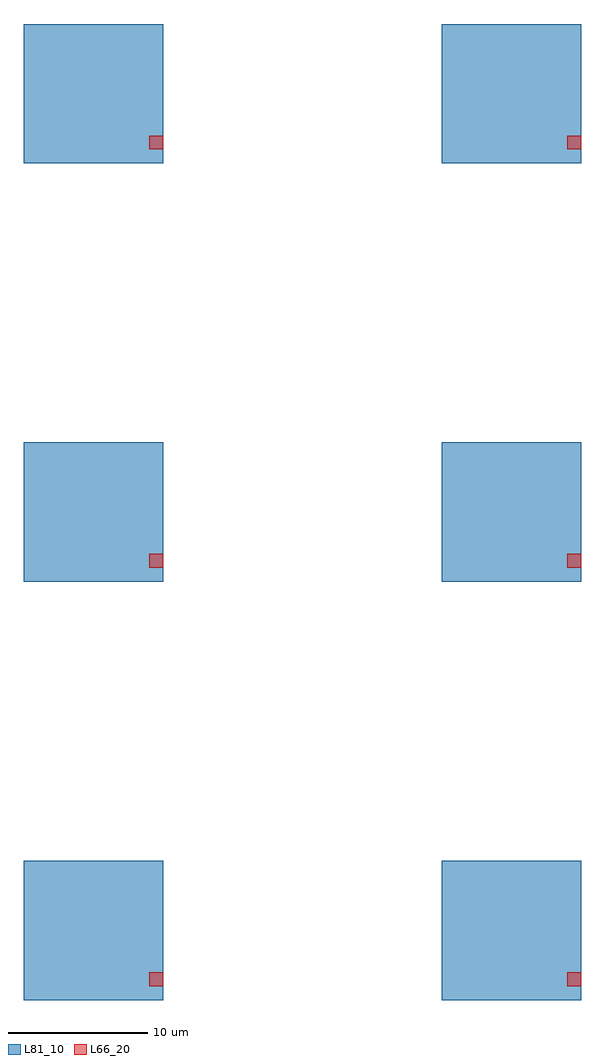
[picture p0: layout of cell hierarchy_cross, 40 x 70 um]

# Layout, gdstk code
from math import pi, radians
import gdstk
lib = gdstk.Library(unit=1e-6, precision=1e-09)
def R(c, l, rs):  # rectangles x0, y0, x1, y1
    for r in rs: c.add(gdstk.rectangle(r[:2], r[2:], *l))
L66_20 = (66, 20)
L81_10 = (81, 10)

child = lib.new_cell('child')
R(child, L66_20, [(-0.001,1,1,2)])
R(child, L81_10, [(0,0,10,10)])

hierarchy_cross = lib.new_cell('hierarchy_cross')
r = gdstk.Reference(child, (31,2), rotation=pi, x_reflection=True); r.repetition = gdstk.Repetition(2, 3, v1=(-30,0), v2=(0,30)); hierarchy_cross.add(r)

lib.write_gds('hierarchy_cross.gds')
